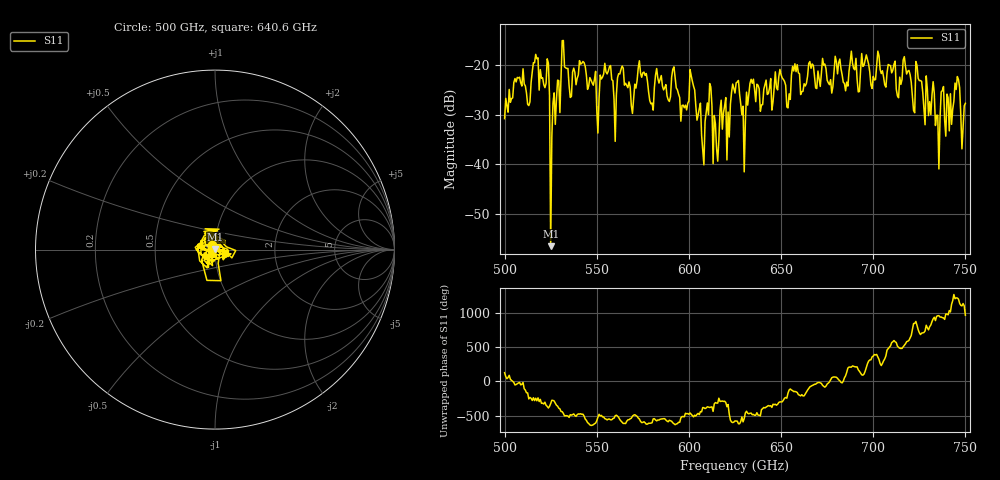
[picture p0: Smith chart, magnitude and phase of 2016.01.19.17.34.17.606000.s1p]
!Created with skrf (http://scikit-rf.org).
# GHz S RI R 50.0
!freq ReS11 ImS11
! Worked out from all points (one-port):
!   401 points, 500 GHz to 750 GHz, reference 50 ohm
!   lowest |S11| = -56.5 dB at 525 GHz (marker M1), VSWR 1.00, Z = 50.1 + j0.0934 ohm
!   |S11| at or under -10 dB: start of sweep to end of sweep
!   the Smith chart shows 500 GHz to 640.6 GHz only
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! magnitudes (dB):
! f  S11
! 500 GHz  -30.8
! 506.9 GHz  -22.5
! 513.1 GHz  -28.2
! 516.9 GHz  -17.8
! 523.1 GHz  -18.7
! 525 GHz  -56.5
! 526.2 GHz  -27.6
! 527.5 GHz  -31.9
! 531.2 GHz  -15.1
! 551.2 GHz  -26.6
! 562.5 GHz  -21.8
! 569.4 GHz  -29.7
! 593.8 GHz  -25.0
! 596.9 GHz  -28.1
! 601.9 GHz  -23.3
! 608.1 GHz  -40.1
! 611.2 GHz  -23.7
! 614.4 GHz  -31.9
! 625 GHz  -25.6
! 629.4 GHz  -28.3
! 633.8 GHz  -22.9
! 653.8 GHz  -28.6
! 656.2 GHz  -20.2
! 687.5 GHz  -19.4
! 718.8 GHz  -21.2
! 735 GHz  -30.1
! 745.6 GHz  -22.3
! 750 GHz  -27.7
